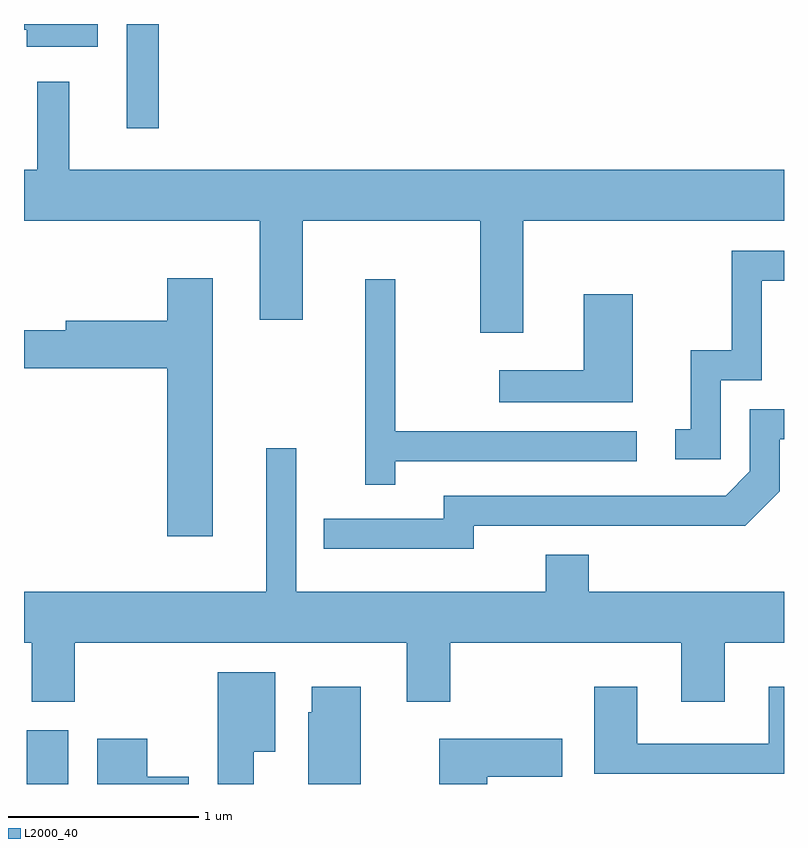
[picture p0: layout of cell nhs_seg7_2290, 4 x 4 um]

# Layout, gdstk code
import gdstk
lib = gdstk.Library(unit=1e-6, precision=1e-09)
def R(c, l, rs):  # rectangles x0, y0, x1, y1
    for r in rs: c.add(gdstk.rectangle(r[:2], r[2:], *l))
def P(c, l, *ps):  # polygons
    for p in ps: c.add(gdstk.Polygon(p, *l))
L2000_40 = (2000, 40)

nhs_seg7_2290 = lib.new_cell('nhs_seg7_2290')
R(nhs_seg7_2290, L2000_40, [(255.626,1700.252,255.844,1700.534), (256.151,1703.703,256.319,1704.252)])
P(nhs_seg7_2290, L2000_40, [(255.999,1704.252),(255.611,1704.252),(255.611,1704.221),(255.626,1704.221),(255.626,1704.131),(255.999,1704.131)],
  [(258.239,1703.216),(259.611,1703.216),(259.611,1703.484),(255.849,1703.484),(255.849,1703.948),(255.681,1703.948),(255.681,1703.484),(255.611,1703.484),(255.611,1703.216),(256.851,1703.216),(256.851,1702.696),(257.079,1702.696),(257.079,1703.216),(258.011,1703.216),(258.011,1702.626),(258.239,1702.626)],
  [(259.279,1702.376),(259.494,1702.376),(259.494,1702.901),(259.611,1702.901),(259.611,1703.059),(259.336,1703.059),(259.336,1702.534),(259.121,1702.534),(259.121,1702.119),(259.038,1702.119),(259.038,1701.961),(259.279,1701.961)],
  [(256.604,1702.914),(256.366,1702.914),(256.366,1702.689),(255.831,1702.689),(255.831,1702.639),(255.611,1702.639),(255.611,1702.441),(256.366,1702.441),(256.366,1701.556),(256.604,1701.556)],
  [(257.564,1701.951),(258.837,1701.951),(258.837,1702.109),(257.564,1702.109),(257.564,1702.908),(257.406,1702.908),(257.406,1701.828),(257.564,1701.828)],
  [(258.814,1702.829),(258.556,1702.829),(258.556,1702.429),(258.113,1702.429),(258.113,1702.261),(258.814,1702.261)],
  [(257.979,1701.611),(259.407,1701.611),(259.589,1701.794),(259.589,1702.066),(259.611,1702.066),(259.611,1702.224),(259.431,1702.224),(259.431,1701.897),(259.304,1701.769),(257.821,1701.769),(257.821,1701.649),(257.188,1701.649),(257.188,1701.491),(257.979,1701.491)],
  [(255.879,1700.996),(257.626,1700.996),(257.626,1700.686),(257.854,1700.686),(257.854,1700.996),(259.071,1700.996),(259.071,1700.686),(259.299,1700.686),(259.299,1700.996),(259.611,1700.996),(259.611,1701.264),(258.584,1701.264),(258.584,1701.459),(258.356,1701.459),(258.356,1701.264),(257.044,1701.264),(257.044,1702.018),(256.886,1702.018),(256.886,1701.264),(255.611,1701.264),(255.611,1700.996),(255.651,1700.996),(255.651,1700.686),(255.879,1700.686)],
  [(256.819,1700.421),(256.934,1700.421),(256.934,1700.839),(256.631,1700.839),(256.631,1700.252),(256.819,1700.252)],
  [(257.384,1700.764),(257.126,1700.764),(257.126,1700.629),(257.106,1700.629),(257.106,1700.252),(257.384,1700.252)],
  [(259.611,1700.764),(259.531,1700.764),(259.531,1700.464),(258.839,1700.464),(258.839,1700.764),(258.611,1700.764),(258.611,1700.306),(259.611,1700.306)],
  [(256.479,1700.289),(256.259,1700.289),(256.259,1700.489),(255.996,1700.489),(255.996,1700.252),(256.479,1700.252)],
  [(258.049,1700.291),(258.444,1700.291),(258.444,1700.489),(257.796,1700.489),(257.796,1700.252),(258.049,1700.252)])

lib.write_gds('nhs_seg7_2290.gds')
